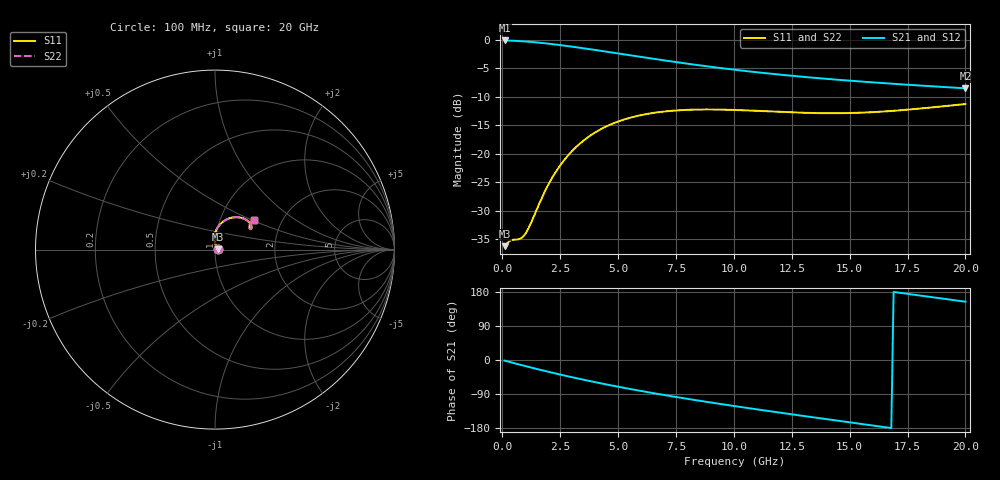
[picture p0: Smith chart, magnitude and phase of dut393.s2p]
! Touchstone file exported from HFSS 2024.1.0
!  File:  C:/UserFiles/LocalFiles/RDL_TSV_Batchsim/temp_RDL_TSV_393_1779648163.aedt
!  Generated:  02:56:01 AM May 25, 2026
!  Design:  RDL_TSV
!  Project:  temp_RDL_TSV_393_1779648163
!  Setup:  Setup1
!  Solution:  Sweep
! Variables:
!  dtsv = 6.84um
!  hbump = 3um
!  htsv = 79.5um
!  ldown = 541.29um
!  lrdl = 341.04um
!  p = 40
!  p1 = 43.45um
!  rhole = 10um
!  subl = 2988.03um
!  t = 450um
!  tdown = 2.99um
!  trdl = 3.79um
!  viad = 10um
!  wdown = 26.15um
!  wrdl = 19.97um
!  xbump = 18um
# GHz S MA R 50.000000
! Terminal data exported
! Port[1] = TM1_1_T1
! Port[2] = TM1_4_T1
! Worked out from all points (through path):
!   200 points, 100 MHz to 20 GHz, reference 50 ohm
!   highest |S21| = -0.14 dB at 100 MHz (marker M1); lowest = -8.5 dB at 20 GHz (marker M2)
!   group delay of S21, straight-line fit = 27.3 ps
!   lowest |S11| = -36.2 dB at 100 MHz (marker M3), VSWR 1.03, Z = 51.6 + j0.244 ohm
!   |S11| at or under -10 dB: start of sweep to end of sweep
!   |S22| runs from -36.2 to -11.3 dB; largest |S21 - S12| = 1.1e-14
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0.1  0.01545 8.8  0.9845 -1.7  0.9845 -1.7  0.01545 8.8
! Gamma 0 0 0 0
! Port Impedance 50 0 50 0
0.3  0.01708 19.7  0.9814 -5.0  0.9814 -5.0  0.01708 19.7
0.8  0.01808 46.2  0.9702 -13.0  0.9702 -13.0  0.01808 46.1
1  0.01988 60.9  0.9642 -16.1  0.9642 -16.1  0.01987 60.8
1.2  0.02366 73.8  0.9572 -19.3  0.9572 -19.3  0.02364 73.7
1.8  0.0449 91.7  0.9319 -28.4  0.9319 -28.4  0.04482 91.6
2.3  0.06878 92.6  0.907 -35.6  0.907 -35.6  0.06865 92.6
2.9  0.09972 88.3  0.8747 -44.0  0.8747 -44.0  0.09953 88.2
3.5  0.1299 81.9  0.8411 -52.0  0.8411 -52.0  0.1297 81.9
4.2  0.1617 74.1  0.8017 -60.9  0.8017 -60.9  0.1614 74.1
4.9  0.1881 66.5  0.763 -69.3  0.763 -69.3  0.1877 66.5
5.8  0.2137 57.7  0.7156 -79.7  0.7156 -79.7  0.2133 57.7
6.8  0.232 49.4  0.6671 -90.4  0.6671 -90.4  0.2314 49.4
7.6  0.2401 43.9  0.6319 -98.6  0.6319 -98.6  0.2395 43.9
8.4  0.2438 39.3  0.6001 -106.5  0.6001 -106.5  0.2431 39.4
10.1  0.2417 32.7  0.5429 -122.3  0.5429 -122.3  0.2409 32.8
11.7  0.2341 30.0  0.5004 -136.4  0.5004 -136.4  0.2334 30.1
13.4  0.2275 30.2  0.4644 -151.0  0.4644 -151.0  0.2268 30.4
15  0.2274 32.4  0.437 -164.5  0.437 -164.5  0.2269 32.7
16.7  0.2361 35.3  0.4127 -178.8  0.4127 -178.8  0.236 35.6
18.3  0.2517 37.1  0.3931 167.9  0.3931 167.9  0.2519 37.4
20  0.2726 37.5  0.3747 153.8  0.3747 153.8  0.2731 37.8
